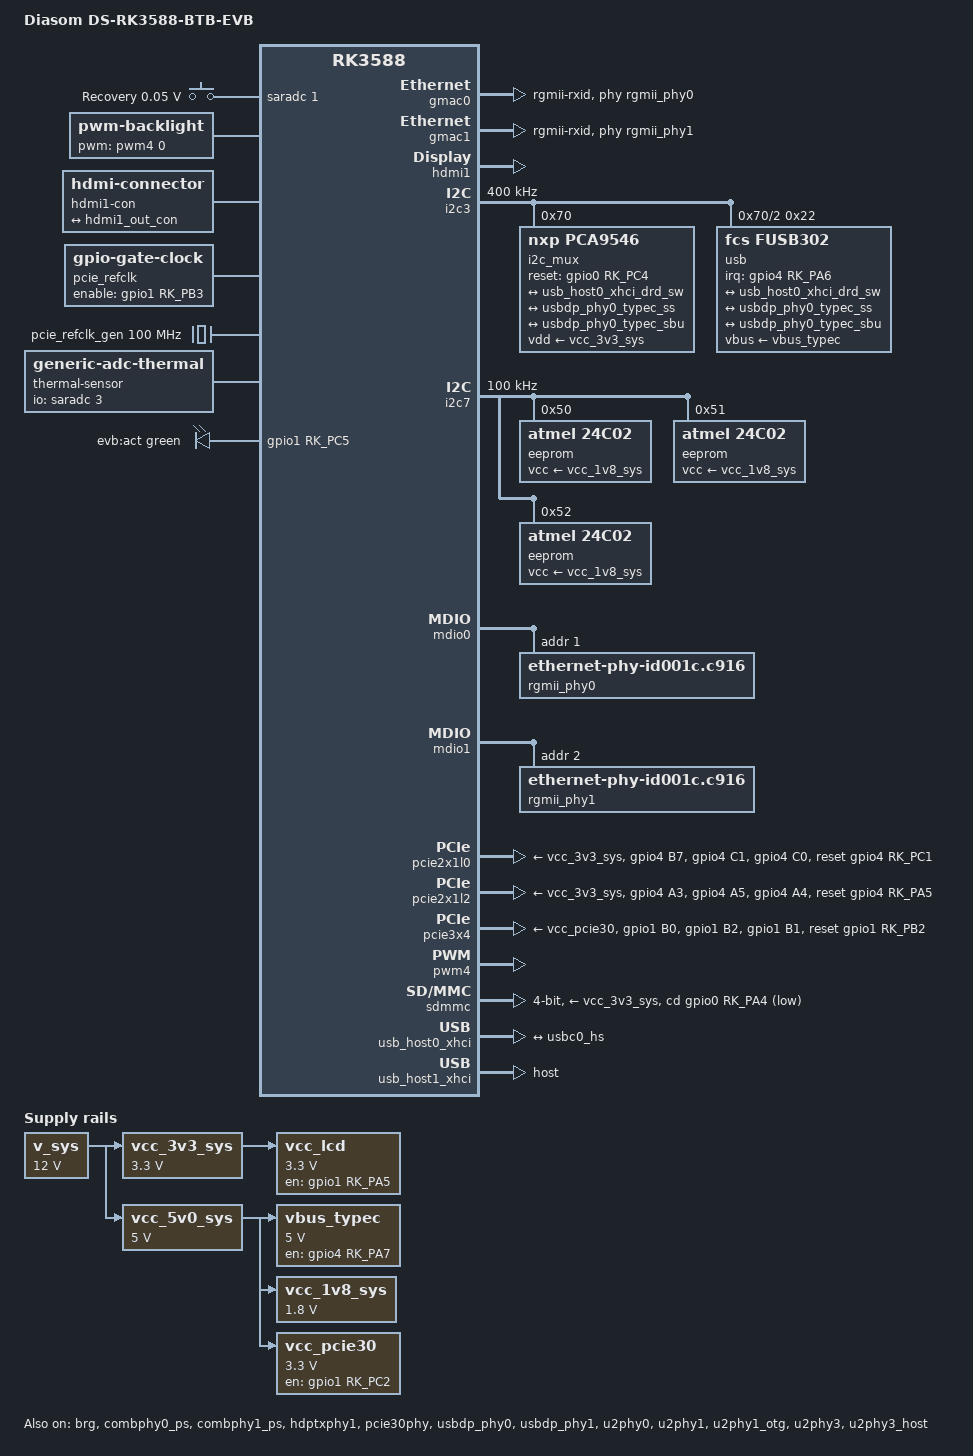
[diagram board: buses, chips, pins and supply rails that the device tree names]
/* SPDX-License-Identifier: GPL-2.0+ */
/* SPDX-FileCopyrightText: Alexander Shiyan <shc_work@mail.ru> */

/dts-v1/;

#include <dt-bindings/input/input.h>
#include <dt-bindings/soc/rockchip,vop2.h>
#include <dt-bindings/usb/pd.h>

#include "rk3588-diasom-btb.dtsi"

/ {
	model = "Diasom DS-RK3588-BTB-EVB";
	compatible = "diasom,ds-rk3588-btb-evb",
		     "diasom,ds-rk3588-btb",
		     "rockchip,rk3588";

	aliases {
		ethernet0 = &gmac0;
		ethernet1 = &gmac1;
		i2c9 = &i2c9;
		i2c10 = &i2c10;
		i2c11 = &i2c11;
		i2c12 = &i2c12;
		mmc1 = &sdmmc;
	};

	chosen {
		environment-sd {
			compatible = "barebox,environment";
			device-path = &sdmmc, "partname:env";
			status = "disabled";
		};
	};

	adc-keys-1 {
		compatible = "adc-keys";
		io-channels = <&saradc 1>;
		io-channel-names = "buttons";
		keyup-threshold-microvolt = <1750000>;
		poll-interval = <100>;

		button-recovery {
			label = "Recovery";
			linux,code = <KEY_VENDOR>;
			press-threshold-microvolt = <50000>;
		};
	};

	backlight: backlight {
		compatible = "pwm-backlight";
		pwms = <&pwm4 0 1000 0>;
		brightness-levels = <0 255>;
		num-interpolated-steps = <256>;
		default-brightness-level = <255>;
	};

	hdmi1-con {
		/* X22 */
		compatible = "hdmi-connector";
		type = "a";

		port {
			hdmi1_con_in: endpoint {
				remote-endpoint = <&hdmi1_out_con>;
			};
		};
	};

	pcie_refclk: pcie-refclk-clock {
		pinctrl-0 = <&pcie30_clk_pins>;
		pinctrl-names = "default";
		compatible = "gpio-gate-clock";
		clocks = <&pcie_refclk_gen>;
		#clock-cells = <0>;
		enable-gpios = <&gpio1 RK_PB3 GPIO_ACTIVE_HIGH>;
	};

	pcie_refclk_gen: pcie-refclk-gen-clock {
		compatible = "fixed-clock";
		#clock-cells = <0>;
		clock-frequency = <100000000>;
	};

	thermal-sensor {
		compatible = "generic-adc-thermal";
		#thermal-sensor-cells = <0>;
		io-channels = <&saradc 3>;
		io-channel-names = "sensor-channel";
		temperature-lookup-table = <0 603
					    25000 1309
					    50000 2172
					    75000 2905>;
	};

	v_sys: v-sys-regulator {
		compatible = "regulator-fixed";
		regulator-name = "v_sys";
		regulator-always-on;
		regulator-boot-on;
		regulator-min-microvolt = <12000000>;
		regulator-max-microvolt = <12000000>;
	};

	vbus_typec: vbus-typec-regulator {
		/* Incorrect wiring 1.8v - 3.3v */
		pinctrl-0 = <&typec_pins>;
		pinctrl-names = "default";
		compatible = "regulator-fixed";
		enable-active-high;
		gpio = <&gpio4 RK_PA7 GPIO_ACTIVE_HIGH>;
		regulator-name = "vbus_typec";
		regulator-always-on;
		regulator-boot-on;
		regulator-min-microvolt = <5000000>;
		regulator-max-microvolt = <5000000>;
		vin-supply = <&vcc_5v0_sys>;
	};

	vcc_1v8_sys: vcc-1v8_sys-regulator {
		compatible = "regulator-fixed";
		regulator-name = "vcc_1v8_sys";
		regulator-always-on;
		regulator-boot-on;
		regulator-min-microvolt = <1800000>;
		regulator-max-microvolt = <1800000>;
		vin-supply = <&vcc_5v0_sys>;
	};

	vcc_3v3_sys: vcc-3v3_sys-regulator {
		compatible = "regulator-fixed";
		regulator-name = "vcc_3v3_sys";
		regulator-always-on;
		regulator-boot-on;
		regulator-min-microvolt = <3300000>;
		regulator-max-microvolt = <3300000>;
		vin-supply = <&v_sys>;
	};

	vcc_5v0_sys: vcc-5v03_sys-regulator {
		compatible = "regulator-fixed";
		regulator-name = "vcc_5v0_sys";
		regulator-always-on;
		regulator-boot-on;
		regulator-min-microvolt = <5000000>;
		regulator-max-microvolt = <5000000>;
		vin-supply = <&v_sys>;
	};

	vcc_pcie30: vcc-pcie30-regulator {
		pinctrl-0 = <&pcie30_vcc_pins>;
		pinctrl-names = "default";
		compatible = "regulator-fixed";
		enable-active-high;
		gpio = <&gpio1 RK_PC2 GPIO_ACTIVE_HIGH>;
		regulator-name = "vcc_pcie30";
		regulator-min-microvolt = <3300000>;
		regulator-max-microvolt = <3300000>;
		vin-supply = <&vcc_5v0_sys>;
	};

	vcc_lcd: vcc-lcd-regulator {
		pinctrl-0 = <&lcd_vcc_pins>;
		pinctrl-names = "default";
		compatible = "regulator-fixed";
		enable-active-high;
		gpio = <&gpio1 RK_PA5 GPIO_ACTIVE_HIGH>;
		regulator-name = "vcc_lcd";
		regulator-min-microvolt = <3300000>;
		regulator-max-microvolt = <3300000>;
		vin-supply = <&vcc_3v3_sys>;
	};
};

&brg {
	pinctrl-0 = <&brg_pins &lvds_pins>;
	panel-enable-gpios = <&gpio1 RK_PC4 GPIO_ACTIVE_HIGH>;
	panel-reset-gpios = <&gpio3 RK_PD5 GPIO_ACTIVE_LOW>;
	panel-backlight = <&backlight>;
	panel-power-supply = <&vcc_lcd>;
	panel-reset-delay-ms = <10>;
	panel-enable-delay-ms = <10>;
	panel-prepare-delay-ms = <60>;
	panel-unprepare-delay-ms = <10>;
	panel-disable-delay-ms = <60>;
	status = "okay";

	rk628-lvds-out {
		bus-format = "jeida_24";
		link-type = "dual_link_odd_even_pixels";
	};

	display-timings {
		/* COG-TA25F325P-L */

		src-timing {
			//TODO:
		};

		dst-timing {
			//TODO:
		};
	};
};

&combphy0_ps {
	/* pcie2x1l2 (PCIE20_0) */
	status = "okay";
};

&combphy1_ps {
	/* pcie2x1l0 (PCIE20_1) */
	status = "okay";
};

&gmac0 {
	pinctrl-names = "default";
	pinctrl-0 = <&gmac0_miim &gmac0_tx_bus2 &gmac0_rx_bus2
		     &gmac0_rgmii_clk &gmac0_rgmii_bus &eth0_pins>;
	clock_in_out = "output";
	phy-handle = <&rgmii_phy0>;
	phy-mode = "rgmii-rxid";
	rx_delay = <0x00>;
	tx_delay = <0x44>;
	nvmem-cells = <&mac0>;
	nvmem-cell-names = "mac-address";
	status = "okay";
};

&gmac1 {
	pinctrl-names = "default";
	pinctrl-0 = <&gmac1_miim &gmac1_tx_bus2 &gmac1_rx_bus2
		     &gmac1_rgmii_clk &gmac1_rgmii_bus &eth1_pins>;
	clock_in_out = "output";
	phy-handle = <&rgmii_phy1>;
	phy-mode = "rgmii-rxid";
	rx_delay = <0x00>;
	tx_delay = <0x44>;
	nvmem-cells = <&mac1>;
	nvmem-cell-names = "mac-address";
	status = "okay";
};

&hdmi1 {
	status = "okay";
};

&hdptxphy1 {
	status = "okay";
};

&hdmi1_in {
	hdmi1_in_vp1: endpoint {
		remote-endpoint = <&vp1_out_hdmi1>;
	};
};

&hdmi1_out {
	hdmi1_out_con: endpoint {
		remote-endpoint = <&hdmi1_con_in>;
	};
};

&i2c3 {
	clock-frequency = <400000>;
	status = "okay";

	i2c_mux: i2c-mux@70 {
		pinctrl-0 = <&mux_pins>;
		pinctrl-names = "default";
		compatible = "nxp,pca9546";
		reg = <0x70>;
		i2c-mux-idle-disconnect;
		reset-gpios = <&gpio0 RK_PC4 GPIO_ACTIVE_HIGH>;
		vdd-supply = <&vcc_3v3_sys>;
		#address-cells = <1>;
		#size-cells = <0>;

		i2c9: i2c@0 {
			reg = <0>;
			#address-cells = <1>;
			#size-cells = <0>;
		};

		i2c10: i2c@1 {
			reg = <1>;
			#address-cells = <1>;
			#size-cells = <0>;
		};

		i2c11: i2c@2 {
			reg = <2>;
			#address-cells = <1>;
			#size-cells = <0>;

			usb@22 {
				pinctrl-names = "default";
				pinctrl-0 = <&fusb302_pins>;
				compatible = "fcs,fusb302";
				reg = <0x22>;
				interrupt-parent = <&gpio4>;
				interrupts = <RK_PA6 IRQ_TYPE_LEVEL_LOW>;
				vbus-supply = <&vbus_typec>;

				connector {
					compatible = "usb-c-connector";
					label = "USB-C";
					data-role = "dual";
					op-sink-microwatt = <1000000>;
					power-role = "dual";
					sink-pdos =
						<PDO_FIXED(5000, 1000, PDO_FIXED_USB_COMM)>;
					source-pdos =
						<PDO_FIXED(5000, 3000, PDO_FIXED_USB_COMM)>;
					try-power-role = "source";

					ports {
						#address-cells = <1>;
						#size-cells = <0>;

						port@0 {
							reg = <0>;

							usbc0_hs: endpoint {
								remote-endpoint = <&usb_host0_xhci_drd_sw>;
							};
						};

						port@1 {
							reg = <1>;

							usbc0_ss: endpoint {
								remote-endpoint = <&usbdp_phy0_typec_ss>;
							};
						};

						port@2 {
							reg = <2>;

							usbc0_sbu: endpoint {
								remote-endpoint = <&usbdp_phy0_typec_sbu>;
							};
						};
					};
				};
			};
		};

		i2c12: i2c@3 {
			reg = <3>;
			#address-cells = <1>;
			#size-cells = <0>;
		};
	};
};

&i2c7 {
	clock-frequency = <100000>;
	status = "okay";

	/* 24aa025e48 */
	eeprom@50 {
		compatible = "atmel,24c02";
		reg = <0x50>;
		pagesize = <16>;
		vcc-supply = <&vcc_1v8_sys>;
		#address-cells = <1>;
		#size-cells = <1>;

		mac1: mac-address@fa {
			reg = <0xfa 0x06>;
			read-only;
		};
	};

	/* 24aa025e48 */
	eeprom@51 {
		compatible = "atmel,24c02";
		reg = <0x51>;
		pagesize = <16>;
		vcc-supply = <&vcc_1v8_sys>;
		#address-cells = <1>;
		#size-cells = <1>;

		mac2: mac-address@fa {
			reg = <0xfa 0x06>;
			read-only;
		};
	};

	/* 24aa025e48 */
	eeprom@52 {
		compatible = "atmel,24c02";
		reg = <0x52>;
		pagesize = <16>;
		vcc-supply = <&vcc_1v8_sys>;
		#address-cells = <1>;
		#size-cells = <1>;

		mac3: mac-address@fa {
			reg = <0xfa 0x06>;
			read-only;
		};
	};
};

&leds {
	pinctrl-0 = <&leds_som_pins &leds_evb_pins>;

	led-act {
		label = "evb:act";
		gpios = <&gpio1 RK_PC5 GPIO_ACTIVE_HIGH>;
		function = LED_FUNCTION_ACTIVITY;
		color = <LED_COLOR_ID_GREEN>;
		linux,default-trigger = LED_FUNCTION_ACTIVITY;
		default-state = "off";
	};
};

&mdio0 {
	rgmii_phy0: ethernet-phy@1 {
		/* RTL8211F */
		compatible = "ethernet-phy-id001c.c916",
			     "ethernet-phy-ieee802.3-c22";
		reg = <0x1>;
	};
};

&mdio1 {
	rgmii_phy1: ethernet-phy@2 {
		/* RTL8211F */
		compatible = "ethernet-phy-id001c.c916",
			     "ethernet-phy-ieee802.3-c22";
		reg = <0x2>;
	};
};

&pcie2x1l0 {
	/* PCIE20_1 */
	pinctrl-names = "default";
	pinctrl-0 = <&pcie2x1l0_pins>;
	reset-gpios = <&gpio4 RK_PC1 GPIO_ACTIVE_HIGH>;
	vpcie3v3-supply = <&vcc_3v3_sys>;
//	status = "okay";
};

&pcie2x1l2 {
	/* PCIE20_0 */
	pinctrl-names = "default";
	pinctrl-0 = <&pcie2x1l2_pins>;
	reset-gpios = <&gpio4 RK_PA5 GPIO_ACTIVE_HIGH>;
	vpcie3v3-supply = <&vcc_3v3_sys>;
//	status = "okay";
};

&pcie30phy {
	status = "okay";
};

&pcie3x4 {
	pinctrl-names = "default";
	pinctrl-0 = <&pcie3x4_pins>;
	clocks = <&cru ACLK_PCIE_4L_MSTR>, <&cru ACLK_PCIE_4L_SLV>,
		 <&cru ACLK_PCIE_4L_DBI>, <&cru PCLK_PCIE_4L>,
		 <&cru CLK_PCIE_AUX0>, <&cru CLK_PCIE4L_PIPE>,
		 <&pcie_refclk>;
	clock-names = "aclk_mst", "aclk_slv",
		      "aclk_dbi", "pclk",
		      "aux", "pipe",
		      "ref";
	reset-gpios = <&gpio1 RK_PB2 GPIO_ACTIVE_HIGH>;
	vpcie3v3-supply = <&vcc_pcie30>;
//	status = "okay";
};

&pwm4 {
	status = "okay";
};

&sdmmc {
	bus-width = <4>;
	cap-mmc-highspeed;
	cap-sd-highspeed;
	disable-wp;
	no-sdio;
	no-mmc;
	sd-uhs-sdr104;
	cd-gpios = <&gpio0 RK_PA4 GPIO_ACTIVE_LOW>;
	vmmc-supply = <&vcc_3v3_sys>;
	vqmmc-supply = <&vccio_sd>;
	status = "okay";
};

&usb_host0_xhci {
	/* USB3_HOST_0 X28 */
	usb-role-switch;
//	status = "okay";

	port {
		usb_host0_xhci_drd_sw: endpoint {
			remote-endpoint = <&usbc0_hs>;
		};
	};
};

&usb_host1_ehci {
	/* USB20_HOST1 X27 */
//	status = "okay";
};

&usb_host1_xhci {
	/* USB3_HOST_1 X25 */
	dr_mode = "host";
//	status = "okay";
};

&usbdp_phy0 {
	mode-switch;
	orientation-switch;
//	sbu1-dc-gpios = <&gpio0 RK_PC6 GPIO_ACTIVE_HIGH>;
//	sbu2-dc-gpios = <&gpio0 RK_PD3 GPIO_ACTIVE_HIGH>;
	status = "okay";

	port {
		#address-cells = <1>;
		#size-cells = <0>;

		usbdp_phy0_typec_ss: endpoint@0 {
			reg = <0>;
			remote-endpoint = <&usbc0_ss>;
		};

		usbdp_phy0_typec_sbu: endpoint@1 {
			reg = <1>;
			remote-endpoint = <&usbc0_sbu>;
		};
	};
};

&usbdp_phy1 {
	status = "okay";
};

&u2phy0 {
	status = "okay";
};

&u2phy0_otg {
	phy-supply = <&vbus_typec>;
//	status = "okay";
};

&u2phy1 {
	status = "okay";
};

&u2phy1_otg {
	/* Power is missing! */
	// phy-supply = <&vbus_host30_1>;
	status = "okay";
};

&u2phy3 {
	status = "okay";
};

&u2phy3_host {
	/* Power is missing! */
	// phy-supply = <&vbus_host20_1>;
	status = "okay";
};

&vcc4v0_sys {
	vin-supply = <&v_sys>;
};

&vp1 {
	vp1_out_hdmi1: endpoint@ROCKCHIP_VOP2_EP_HDMI1 {
		reg = <ROCKCHIP_VOP2_EP_HDMI1>;
		remote-endpoint = <&hdmi1_in_vp1>;
	};
};

&pinctrl {
	brg {
		lcd_vcc_pins: lcd-vcc-pins {
			rockchip,pins =
				<1 RK_PA5 RK_FUNC_GPIO &pcfg_pull_none>;	/* LCD_PWREN_H */
		};

		lvds_pins: lvds-pins {
			rockchip,pins =
				<3 RK_PD5 RK_FUNC_GPIO &pcfg_pull_none>,	/* LCD_nRESET */
				<1 RK_PC4 RK_FUNC_GPIO &pcfg_pull_none>;	/* LCD_nSTBYB */
		};
	};

	leds {
		leds_evb_pins: leds-evb-pins {
			rockchip,pins =
				<1 RK_PC5 RK_FUNC_GPIO &pcfg_pull_none>;	/* VD19 */
		};
	};

	mux {
		mux_pins: mux-pins {
			rockchip,pins =
				<0 RK_PC4 RK_FUNC_GPIO &pcfg_pull_up>;		/* CAM_I2C_MUX_RST */
		};
	};

	pcie {
		pcie2x1l0_pins: pcie2x1l0-pins {
			rockchip,pins =
				<4 RK_PB7 4 &pcfg_pull_none>,			/* pcie20x1_2_clkreqn_m1 */
				<4 RK_PC1 RK_FUNC_GPIO &pcfg_pull_none>,	/* pcie20x1_2_perstn_m1 */
				<4 RK_PC0 4 &pcfg_pull_none>;			/* pcie20x1_2_waken_m1 */
		};

		pcie2x1l2_pins: pcie2x1l2-pins {
			rockchip,pins =
				<4 RK_PA3 4 &pcfg_pull_none>,			/* pcie30x1_0_clkreqn_m1 */
				<4 RK_PA5 RK_FUNC_GPIO &pcfg_pull_none>,	/* pcie30x1_0_perstn_m1 */
				<4 RK_PA4 4 &pcfg_pull_none>;			/* pcie30x1_0_waken_m1 */
		};

		pcie30_clk_pins: pcie30-clk-pins {
			rockchip,pins =
				<1 RK_PB3 RK_FUNC_GPIO &pcfg_pull_none>;	/* PCIE30_CLK_PWREN */
		};

		pcie30_vcc_pins: pcie30-vcc-pins {
			rockchip,pins =
				<1 RK_PC2 RK_FUNC_GPIO &pcfg_pull_none>;	/* PCIE30_PWREN */
		};

		pcie3x4_pins: pci3x4-pins {
			rockchip,pins =
				<1 RK_PB0 4 &pcfg_pull_none>,			/* pcie30x4_clkreqn_m3 */
				<1 RK_PB2 RK_FUNC_GPIO &pcfg_pull_none>,	/* pcie30x4_perstn_m3 */
				<1 RK_PB1 4 &pcfg_pull_none>;			/* pcie30x4_waken_m3 */
		};
	};

	usb {
		fusb302_pins: fusb302-pins {
			rockchip,pins =
				<4 RK_PA6 RK_FUNC_GPIO &pcfg_pull_none>;	/* TYPEC0_INT */
		};

		typec_pins: typec-pins {
			rockchip,pins =
				<4 RK_PA7 RK_FUNC_GPIO &pcfg_pull_none>;	/* TYPEC0_PWREN */
		};
	};
};
